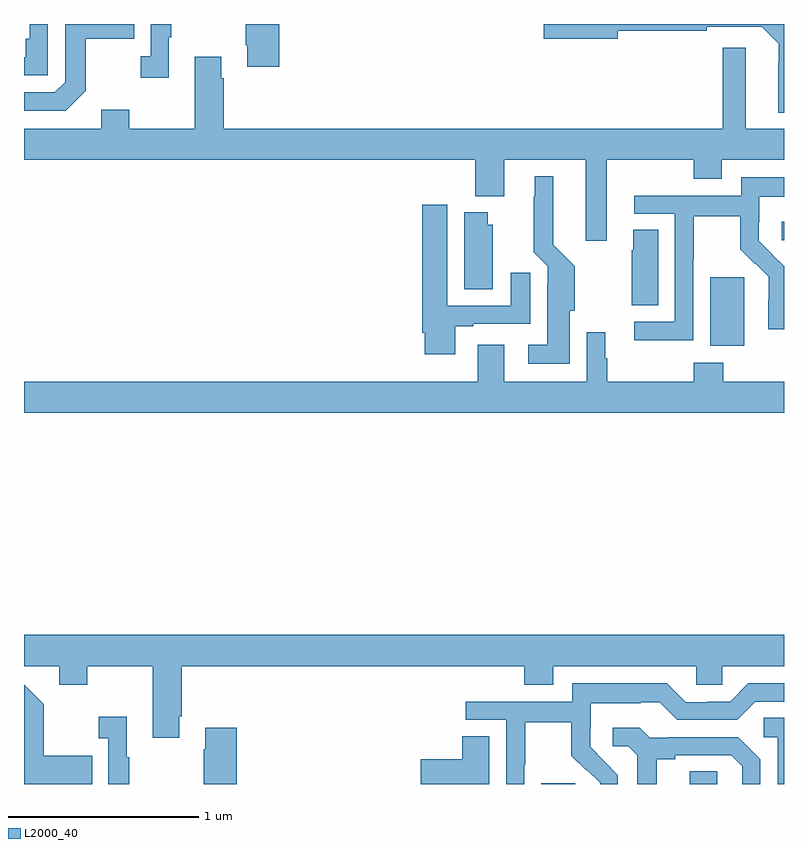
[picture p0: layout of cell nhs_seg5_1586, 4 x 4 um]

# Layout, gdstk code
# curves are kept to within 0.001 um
import gdstk
lib = gdstk.Library(unit=1e-6, precision=1e-09)
def R(c, l, rs):  # rectangles x0, y0, x1, y1
    for r in rs: c.add(gdstk.rectangle(r[:2], r[2:], *l))
def P(c, l, *ps):  # polygons
    for p in ps: c.add(gdstk.Polygon(p, *l))
L2000_40 = (2000, 40)

nhs_seg5_1586 = lib.new_cell('nhs_seg5_1586')
R(nhs_seg5_1586, L2000_40, [(209.723,862.799,209.902,862.803), (210.503,862.799,210.648,862.865), (210.611,865.106,210.79,865.467), (210.987,865.662,211,865.759)])
P(nhs_seg5_1586, L2000_40, [(207.126,866.799),(207.03,866.799),(207.03,866.722),(207.01,866.722),(207.01,866.625),(207,866.625),(207,866.529),(207.126,866.529)],
  [(207.325,866.449),(207.325,866.722),(207.581,866.722),(207.581,866.799),(207.216,866.799),(207.216,866.493),(207.162,866.439),(207,866.439),(207,866.343),(207.219,866.343)],
  [(207.763,866.729),(207.775,866.729),(207.775,866.799),(207.666,866.799),(207.666,866.63),(207.615,866.63),(207.615,866.517),(207.763,866.517)],
  [(211,866.799),(209.736,866.799),(209.736,866.722),(210.124,866.722),(210.124,866.764),(210.593,866.764),(210.593,866.784),(210.884,866.784),(210.972,866.696),(210.971,866.333),(211,866.333)],
  [(208.343,866.799),(208.168,866.799),(208.168,866.686),(208.175,866.686),(208.175,866.574),(208.343,866.574)],
  [(210.067,866.084),(210.526,866.084),(210.526,865.985),(210.673,865.985),(210.673,866.084),(211,866.084),(211,866.248),(210.799,866.248),(210.799,866.674),(210.677,866.674),(210.677,866.248),(208.052,866.248),(208.052,866.513),(208.039,866.513),(208.039,866.626),(207.899,866.626),(207.899,866.248),(207.555,866.248),(207.555,866.347),(207.407,866.347),(207.407,866.248),(207,866.248),(207,866.084),(209.375,866.084),(209.375,865.892),(209.527,865.892),(209.527,866.084),(209.957,866.084),(209.957,865.659),(210.067,865.659)],
  [(209.872,865.29),(209.898,865.29),(209.898,865.523),(209.785,865.636),(209.785,865.999),(209.687,865.999),(209.687,865.889),(209.683,865.889),(209.683,865.598),(209.757,865.524),(209.757,865.43),(209.753,865.43),(209.753,865.111),(209.655,865.111),(209.655,865.01),(209.872,865.01)],
  [(210.522,865.564),(210.525,865.564),(210.525,865.788),(210.769,865.788),(210.769,865.613),(210.846,865.536),(210.849,865.539),(210.92,865.469),(210.92,865.346),(210.918,865.346),(210.918,865.192),(211,865.192),(211,865.524),(210.868,865.658),(210.868,865.755),(210.87,865.755),(210.87,865.889),(211,865.889),(211,865.993),(210.774,865.993),(210.774,865.896),(210.213,865.896),(210.213,865.8),(210.426,865.8),(210.426,865.233),(210.213,865.233),(210.213,865.135),(210.522,865.135)],
  [(209.269,865.209),(209.365,865.209),(209.365,865.221),(209.665,865.221),(209.665,865.489),(209.561,865.489),(209.561,865.317),(209.227,865.317),(209.227,865.849),(209.096,865.849),(209.096,865.174),(209.108,865.174),(209.108,865.062),(209.269,865.062)],
  [(209.467,865.743),(209.44,865.743),(209.44,865.807),(209.318,865.807),(209.318,865.402),(209.467,865.402)],
  [(210.337,865.715),(210.206,865.715),(210.206,865.607),(210.199,865.607),(210.199,865.318),(210.337,865.318)],
  [(211,864.916),(210.681,864.916),(210.681,865.015),(210.526,865.015),(210.526,864.916),(210.07,864.916),(210.07,865.04),(210.058,865.04),(210.058,865.177),(209.961,865.177),(209.961,864.916),(209.527,864.916),(209.527,865.111),(209.387,865.111),(209.387,864.916),(207,864.916),(207,864.752),(211,864.752)],
  [(207.817,863.155),(207.83,863.155),(207.83,863.42),(209.633,863.42),(209.633,863.321),(209.785,863.321),(209.785,863.42),(210.537,863.42),(210.537,863.322),(210.675,863.322),(210.675,863.42),(211,863.42),(211,863.584),(207,863.584),(207,863.42),(207.185,863.42),(207.185,863.321),(207.333,863.321),(207.333,863.42),(207.677,863.42),(207.677,863.043),(207.817,863.043)],
  [(209.634,862.9),(209.637,862.9),(209.637,863.124),(209.881,863.124),(209.881,862.949),(209.958,862.872),(209.961,862.875),(210.032,862.805),(210.032,862.799),(210.126,862.799),(210.126,862.846),(209.98,862.994),(209.98,863.091),(209.982,863.091),(209.982,863.225),(210.245,863.225),(210.245,863.229),(210.345,863.229),(210.438,863.136),(210.753,863.136),(210.849,863.232),(211,863.232),(211,863.328),(210.813,863.328),(210.717,863.232),(210.599,863.232),(210.599,863.229),(210.483,863.229),(210.383,863.329),(209.886,863.329),(209.886,863.232),(209.325,863.232),(209.325,863.136),(209.538,863.136),(209.538,862.799),(209.634,862.799)],
  [(207.359,862.947),(207.103,862.947),(207.103,863.219),(207,863.322),(207,862.799),(207.359,862.799)],
  [(207.553,862.939),(207.541,862.939),(207.541,863.152),(207.393,863.152),(207.393,863.039),(207.444,863.039),(207.444,862.799),(207.553,862.799)],
  [(211,863.147),(210.894,863.147),(210.894,863.046),(210.966,863.046),(210.966,862.799),(211,862.799)],
  [(208.121,863.095),(207.953,863.095),(207.953,862.982),(207.946,862.982),(207.946,862.799),(208.121,862.799)],
  [(210.331,862.928),(210.427,862.928),(210.427,862.95),(210.722,862.95),(210.779,862.893),(210.779,862.799),(210.876,862.799),(210.876,862.93),(210.76,863.046),(210.388,863.046),(210.388,863.043),(210.294,863.043),(210.242,863.095),(210.099,863.095),(210.099,862.998),(210.18,862.998),(210.227,862.951),(210.227,862.799),(210.331,862.799)],
  [(209.449,863.051),(209.306,863.051),(209.306,862.928),(209.088,862.928),(209.088,862.799),(209.449,862.799)])

lib.write_gds('nhs_seg5_1586.gds')
